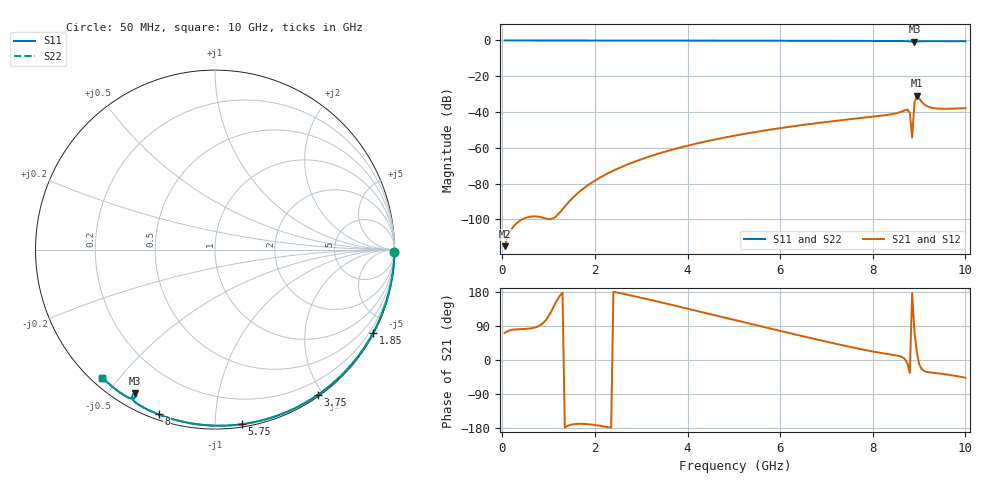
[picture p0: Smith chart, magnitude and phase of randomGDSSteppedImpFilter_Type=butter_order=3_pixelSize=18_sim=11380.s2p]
! freq	dB(S11)	phase(S11)	dB(S12)	phase(S12)
!  dB(S21)	phase(S21)	dB(S22)	phase(S22)
!S-par simulation data
#  GHz  S  DB  R 50
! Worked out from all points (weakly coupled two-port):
!   200 points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, 50 MHz to 10 GHz, reference 50 ohm
!   highest |S21| = -30.86 dB at 8.95 GHz (marker M1); lowest = -114.9 dB at 50 MHz (marker M2)
!   lowest |S11| = -0.7 dB at 8.9 GHz (marker M3), VSWR 23.20, Z = 2.9 - j29.3 ohm
!   |S11| at or under -10 dB: nowhere
!   |S22| runs from -0.8 to 0.0 dB; largest |S21 - S12| = 0
!   S11 on the Smith chart (normalised r, x): 50 MHz: open; 1.85 GHz: 0.04, -4.05; 3.75 GHz: 0.02, -1.93; 5.75 GHz: 0.02, -1.16; 8 GHz: 0.02, -0.71; 10 GHz: 0.03, -0.45
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0.05  -0.00 -0.8  -114.94 71.6  -114.94 71.6  -0.00 -0.8
1.75  -0.03 -26.2  -82.77 -168.6  -82.77 -168.6  -0.03 -26.2
1.85  -0.04 -27.7  -80.87 -169.4  -80.87 -169.4  -0.04 -27.7
1.9  -0.04 -28.4  -79.98 -170.0  -79.98 -170.0  -0.04 -28.4
2.25  -0.04 -33.5  -74.65 -176.5  -74.65 -176.5  -0.04 -33.5
2.65  -0.05 -39.3  -69.85 173.7  -69.85 173.7  -0.05 -39.3
3.4  -0.07 -50.0  -63.02 152.9  -63.02 152.9  -0.07 -50.0
3.75  -0.07 -54.8  -60.45 142.8  -60.45 142.8  -0.07 -54.8
5.05  -0.11 -72.3  -53.03 104.6  -53.03 104.6  -0.11 -72.3
5.75  -0.14 -81.4  -49.96 84.1  -49.96 84.1  -0.14 -81.3
6.7  -0.18 -93.2  -46.50 56.8  -46.50 56.8  -0.18 -93.2
8  -0.26 -108.9  -42.60 22.5  -42.60 22.5  -0.26 -108.9
8.35  -0.29 -113.1  -41.44 15.2  -41.44 15.2  -0.29 -113.1
8.75  -0.42 -118.7  -38.69 -9.4  -38.69 -9.4  -0.41 -118.6
8.8  -0.54 -119.4  -40.44 -34.3  -40.44 -34.3  -0.51 -119.4
8.85  -0.67 -119.5  -54.24 177.1  -54.24 177.1  -0.65 -119.6
8.9  -0.75 -119.1  -34.74 74.6  -34.74 74.6  -0.75 -119.3
8.95  -0.68 -118.2  -30.86 22.2  -30.86 22.2  -0.70 -118.3
9.1  -0.40 -120.3  -35.49 -28.5  -35.49 -28.5  -0.40 -120.3
9.25  -0.38 -122.4  -37.46 -33.0  -37.46 -33.0  -0.38 -122.4
9.5  -0.40 -125.5  -38.17 -36.4  -38.17 -36.4  -0.40 -125.5
10  -0.45 -131.3  -37.80 -46.7  -37.80 -46.7  -0.45 -131.3
